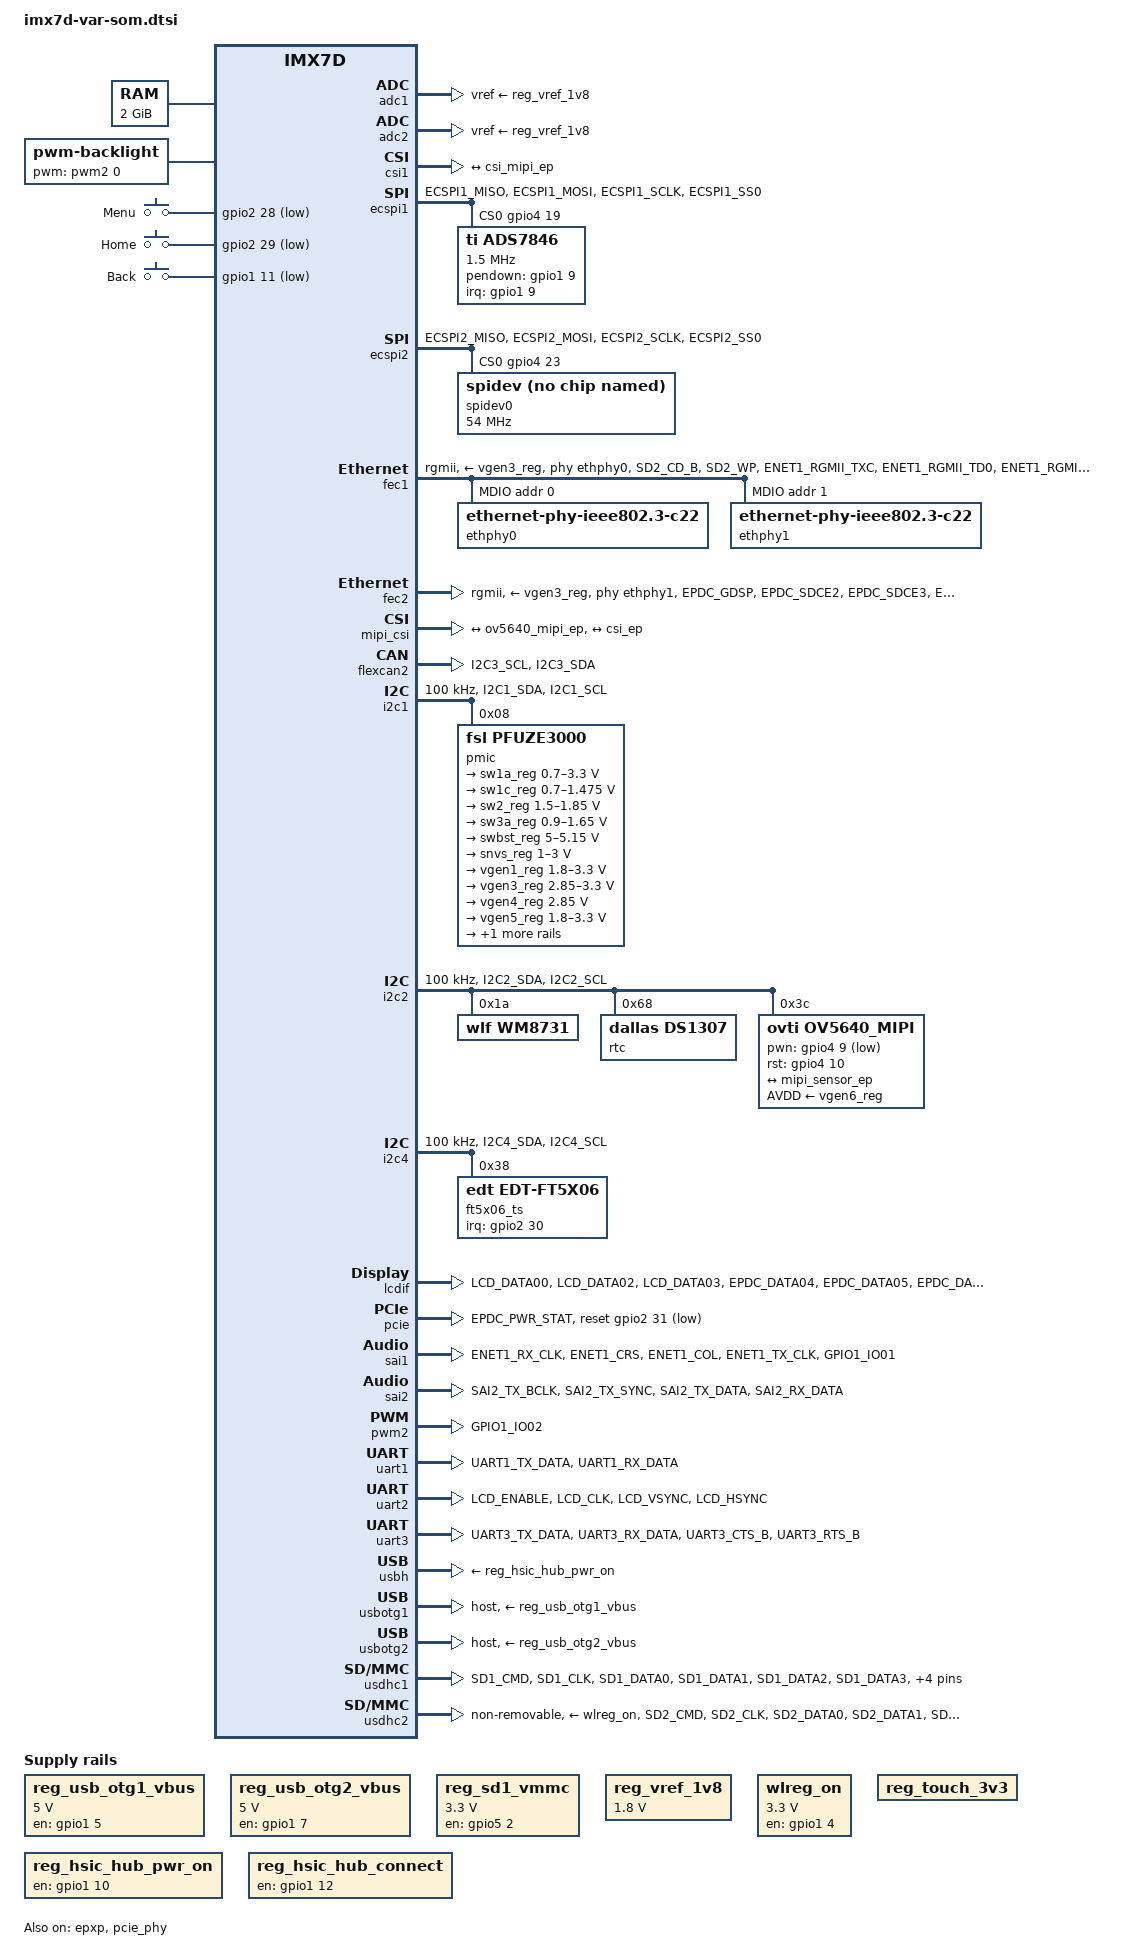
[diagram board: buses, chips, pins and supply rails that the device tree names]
/*
 * Copyright (C) 2015 Freescale Semiconductor, Inc.
 * Copyright (C) 2016-2017 Variscite Ltd.
 *
 * This program is free software; you can redistribute it and/or modify
 * it under the terms of the GNU General Public License version 2 as
 * published by the Free Software Foundation.
 */
#include <dt-bindings/input/input.h>
#include "imx7d.dtsi"

/ {
	memory {
		reg = <0x80000000 0x80000000>;
	};

	backlight {
		compatible = "pwm-backlight";
		pwms = <&pwm2 0 5000000>;
		brightness-levels = <0 4 8 16 32 64 128 255>;
		default-brightness-level = <7>;
		status = "okay";
	};

	pxp_v4l2_out {
		compatible = "fsl,imx7d-pxp-v4l2", "fsl,imx6sx-pxp-v4l2", "fsl,imx6sl-pxp-v4l2";
		status = "okay";
	};

	sound {
		compatible = "simple-audio-card";
		simple-audio-card,name = "wm8731audio";
		simple-audio-card,widgets =
			"Headphone", "Headphone Jack",
			"Line", "Line Out",
			"Microphone", "Mic Jack",
			"Line", "Line In";
		simple-audio-card,routing =
			"Headphone Jack", "RHPOUT",
			"Headphone Jack", "LHPOUT",
			"LLINEIN", "Line Jack",
			"RLINEIN", "Line Jack",
			"MICIN", "Mic Bias",
			"Mic Bias", "Mic Jack";
		simple-audio-card,format = "i2s";
		simple-audio-card,bitclock-master = <&sound_master>;
		simple-audio-card,frame-master = <&sound_master>;
		/*simple-audio-card,bitclock-inversion;*/

		assigned-clocks = <&clks IMX7D_AUDIO_MCLK_ROOT_SRC>,
				  <&clks IMX7D_AUDIO_MCLK_ROOT_CLK>;
		assigned-clock-parents = <&clks IMX7D_PLL_AUDIO_POST_DIV>;
		assigned-clock-rates = <0>, <12288000>;

		sound_master: simple-audio-card,cpu {
			sound-dai = <&sai1 0>;
			system-clock-direction-out;
		};

		simple-audio-card,codec {
			sound-dai = <&wm8731>;
			system-clock-id = <2>;  /* WM8731_SYSCLK_MCLK */
			system-clock-frequency = <12288000>;
		};
	};

	gpio-keys {
		compatible = "gpio-keys";
		pinctrl-names = "default";
		pinctrl-0 = <&pinctrl_gpio_keys>;

		menu {
			label = "Menu";
			gpios = <&gpio2 28 GPIO_ACTIVE_LOW>;
			linux,code = <KEY_MENU>;
		};

		home {
			label = "Home";
			gpios = <&gpio2 29 GPIO_ACTIVE_LOW>;
			linux,code = <KEY_HOME>;
		};

		back {
			label = "Back";
			gpios = <&gpio1 11 GPIO_ACTIVE_LOW>;
			linux,code = <KEY_BACK>;
		};
	};

	regulators {
		compatible = "simple-bus";
		#address-cells = <1>;
		#size-cells = <0>;

		reg_usb_otg1_vbus: regulator@0 {
			compatible = "regulator-fixed";
			reg = <0>;
			regulator-name = "usb_otg1_vbus";
			regulator-min-microvolt = <5000000>;
			regulator-max-microvolt = <5000000>;
			gpio = <&gpio1 5 GPIO_ACTIVE_HIGH>;
			enable-active-high;
		};

		reg_usb_otg2_vbus: regulator@1 {
			compatible = "regulator-fixed";
			reg = <1>;
			regulator-name = "usb_otg2_vbus";
			regulator-min-microvolt = <5000000>;
			regulator-max-microvolt = <5000000>;
			gpio = <&gpio1 7 GPIO_ACTIVE_HIGH>;
			enable-active-high;
		};

		reg_sd1_vmmc: regulator@3 {
			compatible = "regulator-fixed";
			regulator-name = "VDD_SD1";
			regulator-min-microvolt = <3300000>;
			regulator-max-microvolt = <3300000>;
			gpio = <&gpio5 2 GPIO_ACTIVE_HIGH>;
			startup-delay-us = <200000>;
			enable-active-high;
		};

		reg_vref_1v8: regulator@5 {
			compatible = "regulator-fixed";
			reg = <5>;
			regulator-name = "vref-1v8";
			regulator-min-microvolt = <1800000>;
			regulator-max-microvolt = <1800000>;
		};

		wlreg_on: fixedregulator@100 {
			compatible = "regulator-fixed";
			regulator-min-microvolt = <3300000>;
			regulator-max-microvolt = <3300000>;
			regulator-name = "wlreg_on";
			gpio = <&gpio1 4 GPIO_ACTIVE_HIGH>;	/* WL_REG_ON: PAD_GPIO1_IO04__GPIO1_IO4*/
			startup-delay-us = <100>;
			enable-active-high;
		};

		reg_touch_3v3: reg_touch_3v3 {
			compatible = "regulator-fixed";
			regulator-name = "touch_3v3_supply";
			regulator-always-on;
			status = "okay";
		};

		reg_hsic_hub_pwr_on: reg_hsic_hub_pwr_on {
			compatible = "regulator-fixed";
			regulator-name = "hsic_hub_pwr_on";
			gpio = <&gpio1 10 GPIO_ACTIVE_HIGH>;
			enable-active-high;
			regulator-always-on;
			status = "okay";
		};

		reg_hsic_hub_connect: reg_hsic_hub_connect {
			compatible = "regulator-fixed";
			regulator-name = "reg_hsic_hub_connect";
			gpio = <&gpio1 12 GPIO_ACTIVE_HIGH>;
			enable-active-high;
			regulator-always-on;
			status = "okay";
		};
	};
};

&adc1 {
	vref-supply = <&reg_vref_1v8>;
	status = "okay";
};

&adc2 {
	vref-supply = <&reg_vref_1v8>;
	status = "okay";
};

&cpu0 {
	arm-supply = <&sw1a_reg>;
};

&clks {
	assigned-clocks = <&clks IMX7D_PLL_AUDIO_POST_DIV>;
	assigned-clock-rates = <884736000>;
};

&csi1 {
	csi-mux-mipi = <&gpr 0x14 4>;
	status = "okay";

	port {
		csi_ep: endpoint {
			remote-endpoint = <&csi_mipi_ep>;
		};
	};
};

&epxp {
	status = "okay";
};

&ecspi1 {
	fsl,spi-num-chipselects = <1>;
	pinctrl-names = "default", "sleep";
	pinctrl-0 = <&pinctrl_ecspi1>;
	pinctrl-1 = <&pinctrl_ecspi1_sleep>;
	cs-gpios = <&gpio4 19 0>;
	status = "okay";

	/* Touch */
	ads7846@0 {
		reg = <0>;
		compatible = "ti,ads7846";
		interrupt-parent = <&gpio1>;
		interrupts = <9 0>;
		spi-max-frequency = <1500000>;
		pendown-gpio = <&gpio1 9 0>;
		ti,x-min = /bits/ 16 <125>;
		ti,x-max = /bits/ 16 <4008>;
		ti,y-min = /bits/ 16 <282>;
		ti,y-max = /bits/ 16 <3864>;
		ti,x-plate-ohms = /bits/ 16 <180>;
		ti,pressure-max = /bits/ 16 <255>;
		ti,debounce-max = /bits/ 16 <10>;
		ti,debounce-tol = /bits/ 16 <3>;
		ti,debounce-rep = /bits/ 16 <1>;
		ti,settle-delay-usec = /bits/ 16 <150>;
		ti,keep-vref-on;
		linux,wakeup;
	};
};

&ecspi2 {
	fsl,spi-num-chipselects = <1>;
	pinctrl-names = "default", "sleep";
	pinctrl-0 = <&pinctrl_ecspi2>;
	cs-gpios = <&gpio4 23 0>;
	status = "okay";

	spidev0: spi@0 {
		compatible = "spidev";
		reg = <0>;
		spi-max-frequency = <54000000>;
	};
};

&fec1 {
	pinctrl-names = "default";
	pinctrl-0 = <&pinctrl_enet1>;
	phy-supply=<&vgen3_reg>;
	assigned-clocks = <&clks IMX7D_ENET1_TIME_ROOT_SRC>,
			  <&clks IMX7D_ENET1_TIME_ROOT_CLK>;
	assigned-clock-parents = <&clks IMX7D_PLL_ENET_MAIN_100M_CLK>;
	assigned-clock-rates = <0>, <100000000>;
	phy-mode = "rgmii";
	phy-handle = <&ethphy0>;
	fsl,magic-packet;
	status = "okay";

	mdio {
		#address-cells = <1>;
		#size-cells = <0>;

		ethphy0: ethernet-phy@0 {
			compatible = "ethernet-phy-ieee802.3-c22";
			reg = <0>;
		};

		ethphy1: ethernet-phy@1 {
			compatible = "ethernet-phy-ieee802.3-c22";
			reg = <1>;
		};
	};
};

&fec2 {
	pinctrl-names = "default";
	pinctrl-0 = <&pinctrl_enet2>;
	phy-supply=<&vgen3_reg>;
	assigned-clocks = <&clks IMX7D_ENET2_TIME_ROOT_SRC>,
			  <&clks IMX7D_ENET2_TIME_ROOT_CLK>;
	assigned-clock-parents = <&clks IMX7D_PLL_ENET_MAIN_100M_CLK>;
	assigned-clock-rates = <0>, <100000000>;
	phy-mode = "rgmii";
	phy-handle = <&ethphy1>;
	phy-reset-gpios = <&gpio4 3 GPIO_ACTIVE_LOW>;
	fsl,magic-packet;
	status = "okay";
};

&mipi_csi {
	clock-frequency = <240000000>;
	status = "okay";
	port {
		mipi_sensor_ep: endpoint1 {
			remote-endpoint = <&ov5640_mipi_ep>;
			data-lanes = <2>;
			csis-hs-settle = <13>;
			csis-clk-settle = <2>;
			csis-wclk;
		};

		csi_mipi_ep: endpoint2 {
			remote-endpoint = <&csi_ep>;
		};
	};
};

&flexcan2 {
	pinctrl-names = "default";
	pinctrl-0 = <&pinctrl_flexcan2>;
	status = "okay";
};

&i2c1 {
	clock-frequency = <100000>;
	pinctrl-names = "default";
	pinctrl-0 = <&pinctrl_i2c1>;
	status = "okay";

	pmic: pfuze3000@08 {
		compatible = "fsl,pfuze3000";
		reg = <0x08>;

		regulators {
			sw1a_reg: sw1a {
				regulator-min-microvolt = <700000>;
				regulator-max-microvolt = <3300000>;
				regulator-boot-on;
				regulator-always-on;
				regulator-ramp-delay = <6250>;
			};

			/* use sw1c_reg to align with pfuze100/pfuze200 */
			sw1c_reg: sw1b {
				regulator-min-microvolt = <700000>;
				regulator-max-microvolt = <1475000>;
				regulator-boot-on;
				regulator-always-on;
				regulator-ramp-delay = <6250>;
			};

			sw2_reg: sw2 {
				regulator-min-microvolt = <1500000>;
				regulator-max-microvolt = <1850000>;
				regulator-boot-on;
				regulator-always-on;
			};

			sw3a_reg: sw3 {
				regulator-min-microvolt = <900000>;
				regulator-max-microvolt = <1650000>;
				regulator-boot-on;
				regulator-always-on;
			};

			swbst_reg: swbst {
				regulator-min-microvolt = <5000000>;
				regulator-max-microvolt = <5150000>;
			};

			snvs_reg: vsnvs {
				regulator-min-microvolt = <1000000>;
				regulator-max-microvolt = <3000000>;
				regulator-boot-on;
				regulator-always-on;
			};

			vref_reg: vrefddr {
				regulator-boot-on;
				regulator-always-on;
			};

			vgen1_reg: vldo1 {
				regulator-min-microvolt = <1800000>;
				regulator-max-microvolt = <3300000>;
				regulator-always-on;
			};

			vgen2_reg: vldo2 {
				status = "disabled";
			};

			vgen3_reg: vccsd {
				regulator-min-microvolt = <2850000>;
				regulator-max-microvolt = <3300000>;
				regulator-boot-on;

				regulator-state-mem {
					regulator-off-in-suspend;
				};
			};

			vgen4_reg: v33 {
				regulator-min-microvolt = <2850000>;
				regulator-max-microvolt = <2850000>;
				regulator-always-on;
			};

			vgen5_reg: vldo3 {
				regulator-min-microvolt = <1800000>;
				regulator-max-microvolt = <3300000>;
				regulator-always-on;
			};

			vgen6_reg: vldo4 {
				regulator-min-microvolt = <1800000>;
				regulator-max-microvolt = <3300000>;
				regulator-always-on;
			};
		};
	};
};

&i2c2 {
	clock-frequency = <100000>;
	pinctrl-names = "default";
	pinctrl-0 = <&pinctrl_i2c2>;
	status = "okay";

	wm8731: wm8731@1a {
		#sound-dai-cells = <0>;
		compatible = "wlf,wm8731";
		reg = <0x1a>;
		clocks = <&clks IMX7D_AUDIO_MCLK_ROOT_CLK>;
		clock-names = "mclk";
		status = "okay";
	};

	/* DS1307 RTC module */
	rtc@0x68 {
		compatible = "dallas,ds1307";
		reg = <0x68>;
	};

	ov5640_mipi: ov5640_mipi@3c {
		compatible = "ovti,ov5640_mipi";
		reg = <0x3c>;
		clocks = <&clks IMX7D_CLK_DUMMY>;
		clock-names = "csi_mclk";
		csi_id = <0>;
		pwn-gpios = <&gpio4 9 1>;
		rst-gpios = <&gpio4 10 0>;
		AVDD-supply = <&vgen6_reg>;
		mclk = <24000000>;
		mclk_source = <0>;
		port {
			ov5640_mipi_ep: endpoint {
				remote-endpoint = <&mipi_sensor_ep>;
			};
		};
	};
};

&i2c4 {
	clock-frequency = <100000>;
	pinctrl-names = "default";
	pinctrl-0 = <&pinctrl_i2c4>;
	status = "okay";

	ft5x06_ts@38 {
		compatible = "edt,edt-ft5x06";
		reg = <0x38>;
		interrupt-parent = <&gpio2>;
		interrupts = <30 0>;
		touchscreen-size-x = <800>;
		touchscreen-size-y = <480>;
		touchscreen-inverted-x;
		touchscreen-inverted-y;
	};
};

&gpmi {
	status = "disabled";
};

&iomuxc {
	pinctrl-names = "default";
	pinctrl-0 = <&pinctrl_hog_1>;

	imx7d-sdb {
		pinctrl_hog_1: hoggrp-1 {
			fsl,pins = <
				MX7D_PAD_GPIO1_IO14__GPIO1_IO14		0x80000000  /* bt reg on */
				MX7D_PAD_EPDC_PWR_COM__GPIO2_IO30	0x80000000  /* capacitive touch irq */
				MX7D_PAD_SD2_RESET_B__GPIO5_IO11	0x59  /* ethphy0 reset */
				MX7D_PAD_UART2_TX_DATA__GPIO4_IO3	0x59  /* ethphy1 reset */
				MX7D_PAD_GPIO1_IO10__GPIO1_IO10		0x59  /* hsic hub reset */
				MX7D_PAD_GPIO1_IO12__GPIO1_IO12		0x59  /* hsic hub connect */
				MX7D_PAD_GPIO1_IO13__GPIO1_IO13		0x59  /* LED */
				MX7D_PAD_SD1_WP__CCM_CLKO2		0xb0  /* camera clock */
			>;
		};

		pinctrl_gpio_keys: gpio_keysgrp {
			fsl,pins = <
				MX7D_PAD_EPDC_BDR0__GPIO2_IO28		0x32
				MX7D_PAD_EPDC_BDR1__GPIO2_IO29		0x32
				MX7D_PAD_GPIO1_IO11__GPIO1_IO11		0x32
			>;
		};

		pinctrl_pcie: pciegrp {
			fsl,pins = <
				MX7D_PAD_EPDC_PWR_STAT__GPIO2_IO31	0x79 /* pcie reset */
			>;
		};

		pinctrl_mipi_dsi_reset: mipi_dsi_reset_grp {
			fsl,pins = <
				MX7D_PAD_SAI1_TX_DATA__GPIO6_IO15	0x1b
			>;
		};

		pinctrl_ecspi1: ecspi1grp {
			fsl,pins = <
				MX7D_PAD_ECSPI1_MISO__ECSPI1_MISO	0x2
				MX7D_PAD_ECSPI1_MOSI__ECSPI1_MOSI	0x2
				MX7D_PAD_ECSPI1_SCLK__ECSPI1_SCLK	0x2
				MX7D_PAD_ECSPI1_SS0__GPIO4_IO19		0x2
			>;
		};

		pinctrl_ecspi1_sleep: ecspi1grp_sleep {
			fsl,pins = <
				MX7D_PAD_ECSPI1_MISO__GPIO4_IO18	0x14
				MX7D_PAD_ECSPI1_MOSI__GPIO4_IO17	0x14
				MX7D_PAD_ECSPI1_SCLK__GPIO4_IO16	0x14
			>;
		};

		pinctrl_ecspi2: ecspi2grp {
			fsl,pins = <
				MX7D_PAD_ECSPI2_MISO__ECSPI2_MISO	0x2
				MX7D_PAD_ECSPI2_MOSI__ECSPI2_MOSI	0x2
				MX7D_PAD_ECSPI2_SCLK__ECSPI2_SCLK	0x2
				MX7D_PAD_ECSPI2_SS0__GPIO4_IO23		0x2
			>;
		};

		pinctrl_enet1: enet1grp {
			fsl,pins = <
				MX7D_PAD_SD2_CD_B__ENET1_MDIO			0x3
				MX7D_PAD_SD2_WP__ENET1_MDC			0x3
				MX7D_PAD_ENET1_RGMII_TXC__ENET1_RGMII_TXC	0x1
				MX7D_PAD_ENET1_RGMII_TD0__ENET1_RGMII_TD0	0x1
				MX7D_PAD_ENET1_RGMII_TD1__ENET1_RGMII_TD1	0x1
				MX7D_PAD_ENET1_RGMII_TD2__ENET1_RGMII_TD2	0x1
				MX7D_PAD_ENET1_RGMII_TD3__ENET1_RGMII_TD3	0x1
				MX7D_PAD_ENET1_RGMII_TX_CTL__ENET1_RGMII_TX_CTL	0x1
				MX7D_PAD_ENET1_RGMII_RXC__ENET1_RGMII_RXC	0x1
				MX7D_PAD_ENET1_RGMII_RD0__ENET1_RGMII_RD0	0x1
				MX7D_PAD_ENET1_RGMII_RD1__ENET1_RGMII_RD1	0x1
				MX7D_PAD_ENET1_RGMII_RD2__ENET1_RGMII_RD2	0x1
				MX7D_PAD_ENET1_RGMII_RD3__ENET1_RGMII_RD3	0x1
				MX7D_PAD_ENET1_RGMII_RX_CTL__ENET1_RGMII_RX_CTL	0x1
			>;
		};

		pinctrl_enet2: enet2grp {
			fsl,pins = <
				MX7D_PAD_EPDC_GDSP__ENET2_RGMII_TXC		0x1
				MX7D_PAD_EPDC_SDCE2__ENET2_RGMII_TD0		0x1
				MX7D_PAD_EPDC_SDCE3__ENET2_RGMII_TD1		0x1
				MX7D_PAD_EPDC_GDCLK__ENET2_RGMII_TD2		0x1
				MX7D_PAD_EPDC_GDOE__ENET2_RGMII_TD3		0x1
				MX7D_PAD_EPDC_GDRL__ENET2_RGMII_TX_CTL		0x1
				MX7D_PAD_EPDC_SDCE1__ENET2_RGMII_RXC		0x1
				MX7D_PAD_EPDC_SDCLK__ENET2_RGMII_RD0		0x1
				MX7D_PAD_EPDC_SDLE__ENET2_RGMII_RD1		0x1
				MX7D_PAD_EPDC_SDOE__ENET2_RGMII_RD2		0x1
				MX7D_PAD_EPDC_SDSHR__ENET2_RGMII_RD3		0x1
				MX7D_PAD_EPDC_SDCE0__ENET2_RGMII_RX_CTL		0x1
			>;
		};

		pinctrl_flexcan2: flexcan2grp {
			fsl,pins = <
				MX7D_PAD_I2C3_SCL__FLEXCAN2_RX		0x59
				MX7D_PAD_I2C3_SDA__FLEXCAN2_TX		0x59
			>;
		};

		pinctrl_i2c1: i2c1grp {
			fsl,pins = <
				MX7D_PAD_I2C1_SDA__I2C1_SDA	0x4000007f
				MX7D_PAD_I2C1_SCL__I2C1_SCL	0x4000007f
			>;
		};

		pinctrl_i2c2: i2c2grp {
			fsl,pins = <
				MX7D_PAD_I2C2_SDA__I2C2_SDA	0x4000007f
				MX7D_PAD_I2C2_SCL__I2C2_SCL	0x4000007f
			>;
		};

		pinctrl_i2c3: i2c3grp {
			fsl,pins = <
				MX7D_PAD_I2C3_SDA__I2C3_SDA	0x4000007f
				MX7D_PAD_I2C3_SCL__I2C3_SCL	0x4000007f
			>;
		};

		pinctrl_i2c4: i2c4grp {
			fsl,pins = <
				MX7D_PAD_I2C4_SDA__I2C4_SDA	0x4000007f
				MX7D_PAD_I2C4_SCL__I2C4_SCL	0x4000007f
			>;
		};

		pinctrl_lcdif_dat: lcdifdatgrp {
			fsl,pins = <
				MX7D_PAD_LCD_DATA00__GPIO3_IO5		0x79
				MX7D_PAD_LCD_DATA02__LCD_DATA2		0x79
				MX7D_PAD_LCD_DATA03__LCD_DATA3		0x79
				MX7D_PAD_EPDC_DATA04__LCD_DATA4		0x79
				MX7D_PAD_EPDC_DATA05__LCD_DATA5		0x79
				MX7D_PAD_EPDC_DATA06__LCD_DATA6		0x79
				MX7D_PAD_EPDC_DATA07__LCD_DATA7		0x79
				MX7D_PAD_EPDC_DATA10__LCD_DATA10	0x79
				MX7D_PAD_EPDC_DATA11__LCD_DATA11	0x79
				MX7D_PAD_EPDC_DATA12__LCD_DATA12	0x79
				MX7D_PAD_EPDC_DATA13__LCD_DATA13	0x79
				MX7D_PAD_EPDC_DATA14__LCD_DATA14	0x79
				MX7D_PAD_EPDC_DATA15__LCD_DATA15	0x79
				MX7D_PAD_LCD_DATA18__LCD_DATA18		0x79
				MX7D_PAD_LCD_DATA19__LCD_DATA19		0x79
				MX7D_PAD_LCD_DATA20__LCD_DATA20		0x79
				MX7D_PAD_LCD_DATA21__LCD_DATA21		0x79
				MX7D_PAD_LCD_DATA22__LCD_DATA22		0x79
				MX7D_PAD_LCD_DATA23__LCD_DATA23		0x79
			>;
		};

		pinctrl_lcdif_ctrl: lcdifctrlgrp {
			fsl,pins = <
				MX7D_PAD_EPDC_DATA00__LCD_CLK		0x79
				MX7D_PAD_EPDC_DATA02__LCD_VSYNC		0x79
				MX7D_PAD_EPDC_DATA03__LCD_HSYNC		0x79
				MX7D_PAD_EPDC_DATA01__LCD_ENABLE	0x79
			>;
		};

		pinctrl_sai1: sai1grp {
			fsl,pins = <
				MX7D_PAD_ENET1_RX_CLK__SAI1_TX_BCLK	0x1f
				MX7D_PAD_ENET1_CRS__SAI1_TX_SYNC	0x1f
				MX7D_PAD_ENET1_COL__SAI1_TX_DATA0	0x30
				MX7D_PAD_ENET1_TX_CLK__SAI1_RX_DATA0	0x1f
			>;
		};

		pinctrl_sai2: sai2grp {
			fsl,pins = <
				MX7D_PAD_SAI2_TX_BCLK__SAI2_TX_BCLK	0x1f
				MX7D_PAD_SAI2_TX_SYNC__SAI2_TX_SYNC	0x1f
				MX7D_PAD_SAI2_TX_DATA__SAI2_TX_DATA0	0x30
				MX7D_PAD_SAI2_RX_DATA__SAI2_RX_DATA0	0x1f
			>;
		};

		pinctrl_tsc2046_pendown: tsc2046_pendown {
			fsl,pins = <
				MX7D_PAD_GPIO1_IO09__GPIO1_IO9		0x59
			>;
		};

		pinctrl_uart1: uart1grp {
			fsl,pins = <
				MX7D_PAD_UART1_TX_DATA__UART1_DCE_TX	0x79
				MX7D_PAD_UART1_RX_DATA__UART1_DCE_RX	0x79
			>;
		};

		pinctrl_uart2: uart2grp {
			fsl,pins = <
				MX7D_PAD_LCD_ENABLE__UART2_DCE_TX	0x79
				MX7D_PAD_LCD_CLK__UART2_DCE_RX		0x79
				MX7D_PAD_LCD_VSYNC__UART2_DCE_CTS	0x79
				MX7D_PAD_LCD_HSYNC__UART2_DCE_RTS	0x79
			>;
		};

		pinctrl_uart3: uart3grp {
			fsl,pins = <
				MX7D_PAD_UART3_TX_DATA__UART3_DCE_TX	0x79
				MX7D_PAD_UART3_RX_DATA__UART3_DCE_RX	0x79
				MX7D_PAD_UART3_CTS_B__UART3_DCE_CTS	0x79
				MX7D_PAD_UART3_RTS_B__UART3_DCE_RTS	0x79
			>;
		};

		pinctrl_usdhc1_gpio: usdhc1_gpiogrp {
			fsl,pins = <
				MX7D_PAD_SD1_CD_B__GPIO5_IO0		0x59 /* CD */
				MX7D_PAD_SD1_RESET_B__GPIO5_IO2		0x59 /* vmmc */
				MX7D_PAD_GPIO1_IO08__SD1_VSELECT	0x59 /* VSELECT */
			>;
		};

		pinctrl_usdhc1: usdhc1grp {
			fsl,pins = <
				MX7D_PAD_SD1_CMD__SD1_CMD		0x59
				MX7D_PAD_SD1_CLK__SD1_CLK		0x19
				MX7D_PAD_SD1_DATA0__SD1_DATA0		0x59
				MX7D_PAD_SD1_DATA1__SD1_DATA1		0x59
				MX7D_PAD_SD1_DATA2__SD1_DATA2		0x59
				MX7D_PAD_SD1_DATA3__SD1_DATA3		0x59
			>;
		};

		pinctrl_usdhc1_100mhz: usdhc1grp_100mhz {
			fsl,pins = <
				MX7D_PAD_SD1_CMD__SD1_CMD		0x5a
				MX7D_PAD_SD1_CLK__SD1_CLK		0x1a
				MX7D_PAD_SD1_DATA0__SD1_DATA0		0x5a
				MX7D_PAD_SD1_DATA1__SD1_DATA1		0x5a
				MX7D_PAD_SD1_DATA2__SD1_DATA2		0x5a
				MX7D_PAD_SD1_DATA3__SD1_DATA3		0x5a
			>;
		};

		pinctrl_usdhc1_200mhz: usdhc1grp_200mhz {
			fsl,pins = <
				MX7D_PAD_SD1_CMD__SD1_CMD		0x5b
				MX7D_PAD_SD1_CLK__SD1_CLK		0x1b
				MX7D_PAD_SD1_DATA0__SD1_DATA0		0x5b
				MX7D_PAD_SD1_DATA1__SD1_DATA1		0x5b
				MX7D_PAD_SD1_DATA2__SD1_DATA2		0x5b
				MX7D_PAD_SD1_DATA3__SD1_DATA3		0x5b
			>;
		};

		pinctrl_usdhc2_sleep: usdhc2grp_sleep {
			fsl,pins = <
				MX7D_PAD_SD2_CMD__GPIO5_IO13		0x14
				MX7D_PAD_SD2_CLK__GPIO5_IO12		0x14
				MX7D_PAD_SD2_DATA0__GPIO5_IO14		0x14
				MX7D_PAD_SD2_DATA1__GPIO5_IO15		0x14
				MX7D_PAD_SD2_DATA2__GPIO5_IO16		0x14
				MX7D_PAD_SD2_DATA3__GPIO5_IO17		0x14
			>;
		};

		pinctrl_usdhc2: usdhc2grp {
			fsl,pins = <
				MX7D_PAD_SD2_CMD__SD2_CMD	0x59
				MX7D_PAD_SD2_CLK__SD2_CLK	0x19
				MX7D_PAD_SD2_DATA0__SD2_DATA0	0x59
				MX7D_PAD_SD2_DATA1__SD2_DATA1	0x59
				MX7D_PAD_SD2_DATA2__SD2_DATA2	0x59
				MX7D_PAD_SD2_DATA3__SD2_DATA3	0x59
			>;
		};

		pinctrl_usdhc2_100mhz: usdhc2grp_100mhz {
			fsl,pins = <
				MX7D_PAD_SD2_CMD__SD2_CMD	0x5a
				MX7D_PAD_SD2_CLK__SD2_CLK	0x1a
				MX7D_PAD_SD2_DATA0__SD2_DATA0	0x5a
				MX7D_PAD_SD2_DATA1__SD2_DATA1	0x5a
				MX7D_PAD_SD2_DATA2__SD2_DATA2	0x5a
				MX7D_PAD_SD2_DATA3__SD2_DATA3	0x5a
			>;
		};

		pinctrl_usdhc2_200mhz: usdhc2grp_200mhz {
			fsl,pins = <
				MX7D_PAD_SD2_CMD__SD2_CMD	0x5b
				MX7D_PAD_SD2_CLK__SD2_CLK	0x1b
				MX7D_PAD_SD2_DATA0__SD2_DATA0	0x5b
				MX7D_PAD_SD2_DATA1__SD2_DATA1	0x5b
				MX7D_PAD_SD2_DATA2__SD2_DATA2	0x5b
				MX7D_PAD_SD2_DATA3__SD2_DATA3	0x5b
			>;
		};
	};
};

&lcdif {
	pinctrl-names = "default";
	pinctrl-0 = <&pinctrl_lcdif_dat
		     &pinctrl_lcdif_ctrl>;
	display = <&display0>;
	status = "okay";

	display0: display0 {
		bits-per-pixel = <32>;
		bus-width = <24>;

		display-timings {
			native-mode = <&timing0>;
			timing0: timing0 {
				clock-frequency = <29232000>;
				hactive = <800>;
				vactive = <480>;
				hfront-porch = <40>;
				hback-porch = <40>;
				hsync-len = <48>;
				vback-porch = <29>;
				vfront-porch = <13>;
				vsync-len = <3>;
				hsync-active = <0>;
				vsync-active = <0>;
				de-active = <1>;
				pixelclk-active = <0>;
			};
		};
	};
};

&pcie_phy {
	status = "okay";
};

&pcie {
	pinctrl-names = "default";
	pinctrl-0 = <&pinctrl_pcie>;
	reset-gpio = <&gpio2 31 GPIO_ACTIVE_LOW>;
	status = "okay";
};

&sai1 {
	#sound-dai-cells = <1>;
	pinctrl-names = "default";
	pinctrl-0 = <&pinctrl_sai1 &pinctrl_sai1_mclk>;
	assigned-clocks = <&clks IMX7D_SAI1_ROOT_SRC>,
			  <&clks IMX7D_SAI1_ROOT_CLK>;
	assigned-clock-parents = <&clks IMX7D_PLL_AUDIO_POST_DIV>;
	assigned-clock-rates = <0>, <36864000>;
	status = "okay";
};

&sai2 {
	pinctrl-names = "default";
	pinctrl-0 = <&pinctrl_sai2>;
	assigned-clocks = <&clks IMX7D_SAI2_ROOT_SRC>,
			  <&clks IMX7D_SAI2_ROOT_CLK>;
	assigned-clock-parents = <&clks IMX7D_PLL_AUDIO_POST_DIV>;
	assigned-clock-rates = <0>, <36864000>;
	status = "okay";
};

&sdma {
	status = "okay";
};

&pwm2 {
	pinctrl-names = "default";
	pinctrl-0 = <&pinctrl_pwm2>;
	status = "okay";
};

&iomuxc_lpsr {
	pinctrl-names = "default";
	pinctrl-0 = <&pinctrl_hog_2 &pinctrl_usbotg2_pwr_2>;

	imx7d-sdb {
		pinctrl_hog_2: hoggrp-2 {
			fsl,pins = <
				MX7D_PAD_GPIO1_IO05__GPIO1_IO5		0x14
			>;
		};

		pinctrl_pwm2: pwm2grp {
			fsl,pins = <
				MX7D_PAD_GPIO1_IO02__PWM2_OUT		0x110b0
			>;
		};

		pinctrl_usbotg2_pwr_2: usbotg2-2 {
			fsl,pins = <
				MX7D_PAD_GPIO1_IO07__GPIO1_IO7		0x14
			>;
		};

		pinctrl_wdog: wdoggrp {
			fsl,pins = <
				MX7D_PAD_GPIO1_IO00__WDOD1_WDOG_B	0x74
			>;
		};

		pinctrl_sai1_mclk: sai1grp_mclk {
			fsl,pins = <
				MX7D_PAD_GPIO1_IO01__SAI1_MCLK		0x1f
			>;
		};

		pinctrl_wlan: wlangrp {
			fsl,pins = <
				MX7D_PAD_GPIO1_IO04__GPIO1_IO4		0x59 /* WL_REG_ON */
			>;
		};

		pinctrl_wlan_sleep: wlangrp_sleep {
			fsl,pins = <
				MX7D_PAD_GPIO1_IO04__GPIO1_IO4		0x14 /* WL_REG_ON */
			>;
		};
	};
};

&uart1 {
	pinctrl-names = "default";
	pinctrl-0 = <&pinctrl_uart1>;
	assigned-clocks = <&clks IMX7D_UART1_ROOT_SRC>;
	assigned-clock-parents = <&clks IMX7D_OSC_24M_CLK>;
	status = "okay";
};

&uart2 {
	pinctrl-names = "default";
	pinctrl-0 = <&pinctrl_uart2>;
	assigned-clocks = <&clks IMX7D_UART2_ROOT_SRC>;
	assigned-clock-parents = <&clks IMX7D_PLL_SYS_MAIN_240M_CLK>;
	fsl,uart-has-rtscts;
	status = "okay";
};

&uart3 {
	pinctrl-names = "default";
	pinctrl-0 = <&pinctrl_uart3>;
	assigned-clocks = <&clks IMX7D_UART3_ROOT_SRC>;
	assigned-clock-parents = <&clks IMX7D_PLL_SYS_MAIN_240M_CLK>;
	fsl,uart-has-rtscts;
	status = "okay";
};

&usbh {
	status = "okay";
	vbus-supply = <&reg_hsic_hub_pwr_on>;
};

&usbotg1 {
	vbus-supply = <&reg_usb_otg1_vbus>;
	dr_mode = "host";
	status = "okay";
};

&usbotg2 {
	vbus-supply = <&reg_usb_otg2_vbus>;
	dr_mode = "host";
	status = "okay";
};

&usdhc1 {
	pinctrl-names = "default", "state_100mhz", "state_200mhz";
	pinctrl-0 = <&pinctrl_usdhc1>, <&pinctrl_usdhc1_gpio>;
	pinctrl-1 = <&pinctrl_usdhc1_100mhz>, <&pinctrl_usdhc1_gpio>;
	pinctrl-2 = <&pinctrl_usdhc1_200mhz>, <&pinctrl_usdhc1_gpio>;
	cd-gpios = <&gpio5 0 GPIO_ACTIVE_LOW>;
	no-1-8-v;
	enable-sdio-wakeup;
	keep-power-in-suspend;
	status = "okay";
};

&usdhc2 {
	pinctrl-names = "default", "state_100mhz", "state_200mhz","sleep";
	pinctrl-0 = <&pinctrl_usdhc2>, <&pinctrl_wlan>;
	pinctrl-1 = <&pinctrl_usdhc2_100mhz>, <&pinctrl_wlan>;
	pinctrl-2 = <&pinctrl_usdhc2_200mhz>, <&pinctrl_wlan>;
	pinctrl-3 = <&pinctrl_usdhc2_sleep>, <&pinctrl_wlan_sleep>;
	enable-sdio-wakeup;
	keep-power-in-suspend;
	non-removable;
	pm-ignore-notify;
	wifi-host;
	vmmc-supply = <&wlreg_on>;
	status = "okay";
};

&usdhc3 {
	status = "disabled";
};

&wdog1 {
	pinctrl-names = "default";
	pinctrl-0 = <&pinctrl_wdog>;
	fsl,ext-reset-output;
};

&snvs_rtc {
	status = "disabled";
};

